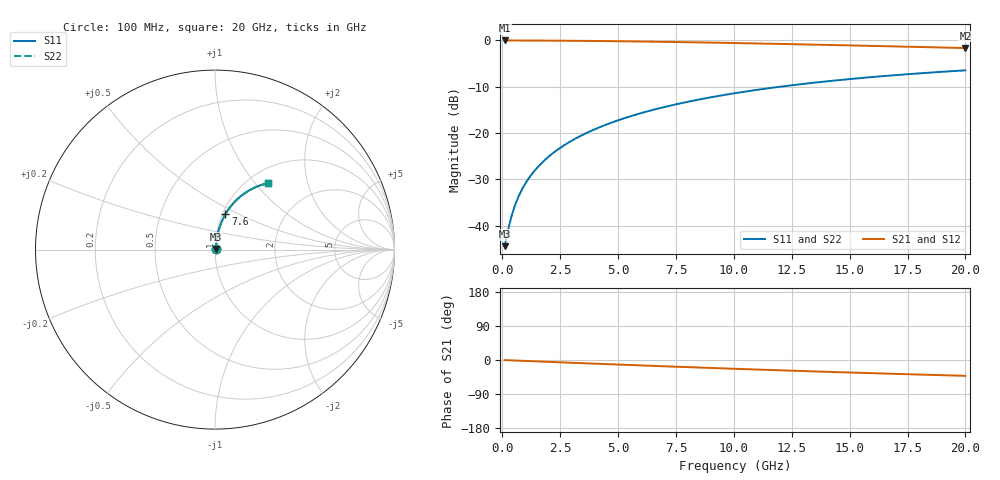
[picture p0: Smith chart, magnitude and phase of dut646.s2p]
! Touchstone file exported from HFSS 2024.1.0
!  File:  C:/UserFiles/LocalFiles/RDL_TSV_Batchsim/temp_RDL_bottom_646_1779785128.aedt
!  Generated:  04:48:02 PM May 26, 2026
!  Design:  RDL_bottom
!  Project:  temp_RDL_bottom_646_1779785128
!  Setup:  Setup1
!  Solution:  Sweep
! Variables:
!  dtsv = 10.80580581um
!  hbump = 3um
!  htsv = 99.67um
!  ldown = 502.88um
!  lrdl = 100um
!  p = 40
!  p1 = 54.8um
!  rhole = 1um
!  t = 450um
!  tdown = 2.49um
!  trdl = 3.915915916um
!  wdown = 13.91um
!  wrdl = 20um
# GHz S MA R 50.000000
! Terminal data exported
! Port[1] = RDL1_T1
! Port[2] = RDL1_T2
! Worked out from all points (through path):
!   200 points, 100 MHz to 20 GHz, reference 50 ohm
!   highest |S21| = -0.05 dB at 100 MHz (marker M1); lowest = -1.7 dB at 20 GHz (marker M2)
!   group delay of S21, straight-line fit = 5.81 ps
!   lowest |S11| = -44.4 dB at 100 MHz (marker M3), VSWR 1.01, Z = 50.5 + j0.29 ohm
!   |S11| at or under -10 dB: start of sweep to 12.03 GHz
!   |S22| runs from -44.4 to -6.5 dB; largest |S21 - S12| = 3e-15
!   S11 on the Smith chart (normalised r, x): 100 MHz: 1.01, +0.01; 7.6 GHz: 1.03, +0.43; 20 GHz: 1.22, +1.17
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0.1  0.006016 28.4  0.9947 -0.3  0.9947 -0.3  0.006016 28.4
! Gamma 0 0 0 0
! Port Impedance 50 0 50 0
0.3  0.01016 57.3  0.9945 -0.8  0.9945 -0.8  0.01016 57.3
0.4  0.01268 63.6  0.9944 -1.0  0.9944 -1.0  0.01268 63.6
0.5  0.01528 67.6  0.9942 -1.3  0.9942 -1.3  0.01528 67.6
0.6  0.01793 70.4  0.994 -1.5  0.994 -1.5  0.01793 70.4
0.7  0.02059 72.4  0.9939 -1.8  0.9939 -1.8  0.02059 72.4
0.9  0.02593 75.1  0.9935 -2.2  0.9935 -2.2  0.02593 75.1
1.2  0.03397 77.5  0.9928 -3.0  0.9928 -3.0  0.03397 77.5
1.4  0.03934 78.4  0.9924 -3.5  0.9924 -3.5  0.03934 78.4
1.7  0.04742 79.3  0.9916 -4.2  0.9916 -4.2  0.04742 79.3
2.2  0.06094 80.0  0.9901 -5.4  0.9901 -5.4  0.06094 80.0
2.8  0.07721 80.1  0.9879 -6.8  0.9879 -6.8  0.07721 80.1
3.5  0.09623 79.7  0.9848 -8.5  0.9848 -8.5  0.09623 79.7
4.2  0.1153 78.9  0.981 -10.2  0.981 -10.2  0.1152 78.9
5  0.1369 77.9  0.9761 -12.1  0.9761 -12.1  0.1369 77.9
5.9  0.1612 76.5  0.9699 -14.1  0.9699 -14.1  0.1612 76.5
6.8  0.1852 75.0  0.9629 -16.2  0.9629 -16.2  0.1852 75.0
7.6  0.2063 73.6  0.9561 -18.0  0.9561 -18.0  0.2062 73.6
10.1  0.2699 69.0  0.9326 -23.3  0.9326 -23.3  0.2699 69.0
13.4  0.3472 62.9  0.8977 -30.0  0.8977 -30.0  0.347 62.8
16.7  0.4152 57.0  0.8609 -36.1  0.8609 -36.1  0.415 56.9
20  0.4738 51.5  0.824 -41.8  0.824 -41.8  0.4736 51.4
